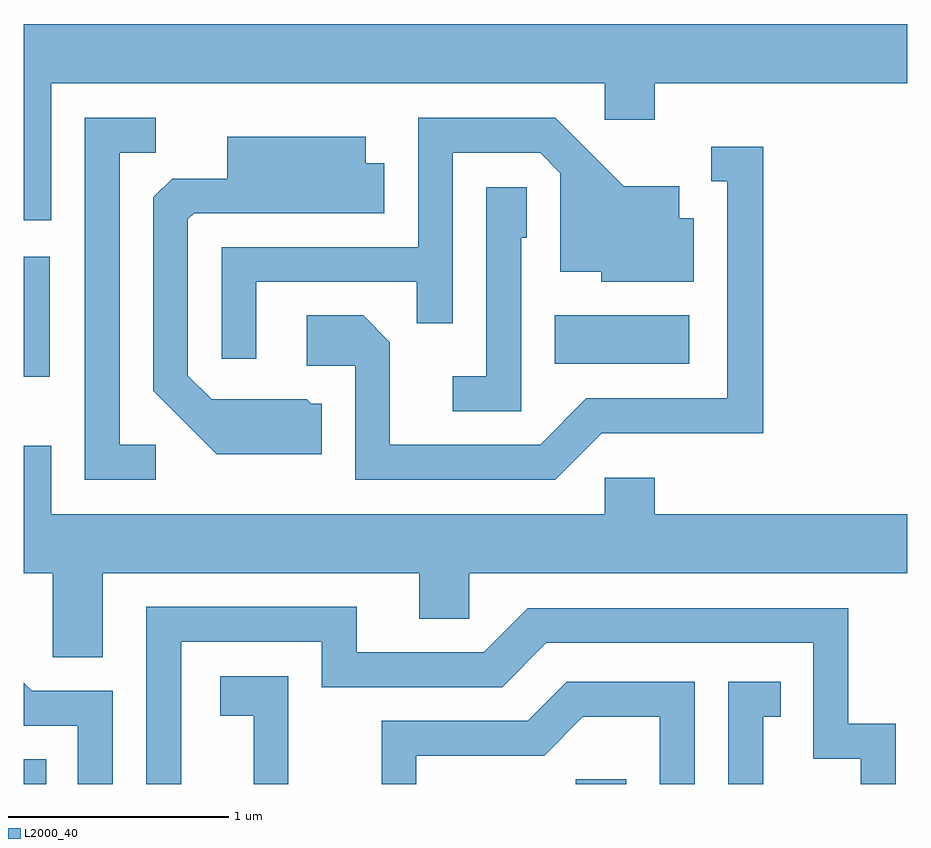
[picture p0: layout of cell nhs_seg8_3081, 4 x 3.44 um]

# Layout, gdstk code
import gdstk
lib = gdstk.Library(unit=1e-6, precision=1e-09)
def R(c, l, rs):  # rectangles x0, y0, x1, y1
    for r in rs: c.add(gdstk.rectangle(r[:2], r[2:], *l))
def P(c, l, *ps):  # polygons
    for p in ps: c.add(gdstk.Polygon(p, *l))
L2000_40 = (2000, 40)

nhs_seg8_3081 = lib.new_cell('nhs_seg8_3081')
R(nhs_seg8_3081, L2000_40, [(277.611,1844.342,277.713,1844.454), (280.111,1844.342,280.339,1844.364), (277.611,1846.186,277.729,1846.729), (280.016,1846.246,280.624,1846.464)])
P(nhs_seg8_3081, L2000_40, [(277.734,1847.516),(280.241,1847.516),(280.241,1847.351),(280.469,1847.351),(280.469,1847.516),(281.611,1847.516),(281.611,1847.784),(277.611,1847.784),(277.611,1846.896),(277.734,1846.896)],
  [(278.664,1846.616),(279.391,1846.616),(279.391,1846.428),(279.554,1846.428),(279.554,1847.201),(279.949,1847.201),(280.041,1847.109),(280.041,1846.661),(280.226,1846.661),(280.226,1846.616),(280.644,1846.616),(280.644,1846.904),(280.579,1846.904),(280.579,1847.049),(280.327,1847.049),(280.017,1847.359),(279.396,1847.359),(279.396,1846.774),(278.506,1846.774),(278.506,1846.268),(278.664,1846.268)],
  [(278.208,1845.879),(278.044,1845.879),(278.044,1847.201),(278.208,1847.201),(278.208,1847.359),(277.886,1847.359),(277.886,1845.721),(278.208,1845.721)],
  [(278.959,1846.064),(278.912,1846.064),(278.892,1846.084),(278.462,1846.084),(278.354,1846.192),(278.354,1846.899),(278.382,1846.926),(279.244,1846.926),(279.244,1847.154),(279.159,1847.154),(279.159,1847.274),(278.531,1847.274),(278.531,1847.084),(278.282,1847.084),(278.196,1846.999),(278.196,1846.124),(278.484,1845.836),(278.959,1845.836)],
  [(280.227,1845.931),(280.959,1845.931),(280.959,1847.229),(280.723,1847.229),(280.723,1847.071),(280.796,1847.071),(280.796,1846.089),(280.159,1846.089),(279.949,1845.879),(279.269,1845.879),(279.269,1846.342),(279.147,1846.464),(278.891,1846.464),(278.891,1846.236),(279.111,1846.236),(279.111,1845.721),(280.017,1845.721)],
  [(279.864,1846.816),(279.889,1846.816),(279.889,1847.044),(279.706,1847.044),(279.706,1846.189),(279.553,1846.189),(279.553,1846.031),(279.864,1846.031)],
  [(277.969,1845.296),(279.401,1845.296),(279.401,1845.091),(279.629,1845.091),(279.629,1845.296),(281.611,1845.296),(281.611,1845.564),(280.469,1845.564),(280.469,1845.729),(280.241,1845.729),(280.241,1845.564),(277.734,1845.564),(277.734,1845.874),(277.611,1845.874),(277.611,1845.296),(277.741,1845.296),(277.741,1844.916),(277.969,1844.916)],
  [(278.324,1844.986),(278.961,1844.986),(278.961,1844.781),(279.777,1844.781),(279.977,1844.981),(281.186,1844.981),(281.186,1844.456),(281.401,1844.456),(281.401,1844.342),(281.559,1844.342),(281.559,1844.614),(281.344,1844.614),(281.344,1845.139),(279.894,1845.139),(279.694,1844.939),(279.119,1844.939),(279.119,1845.144),(278.166,1845.144),(278.166,1844.342),(278.324,1844.342)],
  [(278.809,1844.829),(278.501,1844.829),(278.501,1844.651),(278.651,1844.651),(278.651,1844.342),(278.809,1844.342)],
  [(280.959,1844.646),(281.038,1844.646),(281.038,1844.804),(280.801,1844.804),(280.801,1844.342),(280.959,1844.342)],
  [(279.389,1844.471),(279.967,1844.471),(280.142,1844.646),(280.491,1844.646),(280.491,1844.342),(280.649,1844.342),(280.649,1844.804),(280.069,1844.804),(279.894,1844.629),(279.231,1844.629),(279.231,1844.342),(279.389,1844.342)],
  [(278.014,1844.764),(277.647,1844.764),(277.611,1844.8),(277.611,1844.606),(277.856,1844.606),(277.856,1844.342),(278.014,1844.342)])

lib.write_gds('nhs_seg8_3081.gds')
